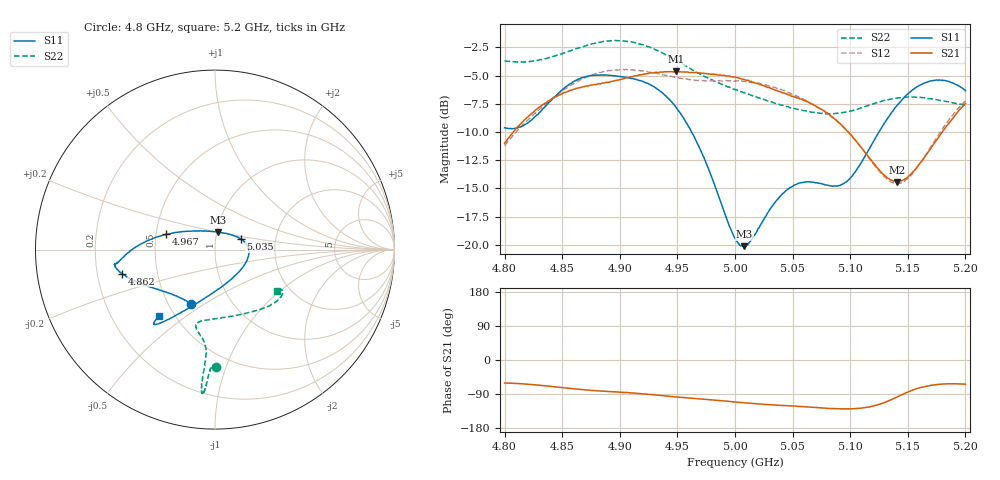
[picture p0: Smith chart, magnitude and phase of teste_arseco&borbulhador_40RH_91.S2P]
! Network Analyzer HP8722D
! Hewlett-Packard
! Data name: Linha & Wilkinson
! Saver's name: Rodrigo Anjos
! Comments: Teste da utilização de aquisição
! continua pelo VNA HP8722D
! Time and date: 15/4/2025 17:06
!  Frequency  S11  S21  S12  S22
# HZ  S  MA R 50
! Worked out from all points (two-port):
!   401 points, 4.8 GHz to 5.2 GHz, reference 50 ohm
!   highest |S21| = -4.63 dB at 4.949 GHz (marker M1); lowest = -14.4 dB at 5.141 GHz (marker M2)
!   |S21| within 3 dB of the highest: 4.832 GHz to 5.069 GHz (236.7 MHz wide, 4.78 % of centre); 5.198524 GHz to end of sweep
!   lowest |S11| = -20.1 dB at 5.008 GHz (marker M3), VSWR 1.22, Z = 50.7 + j9.96 ohm
!   |S11| at or under -10 dB: 4.962 GHz to 5.125 GHz (162.6 MHz wide, 3.22 % of centre)
!   |S22| runs from -8.4 to -1.9 dB; largest |S21 - S12| = 0.88
!   S11 on the Smith chart (normalised r, x): 4.8 GHz: 0.65, -0.44; 4.862 GHz: 0.31, -0.11; 4.967 GHz: 0.57, +0.10; 5.035 GHz: 1.32, +0.16; 5.2 GHz: 0.41, -0.40
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4.8e9  0.3302 -113.7  0.2816 -60.8  0.2751 -175.0  0.6541 -89.5
4.819e9  0.3445 -133.5  0.3649 -63.6  0.3529 -173.4  0.6489 -91.2
4.862e9  0.5358 -165.6  0.494 -76.5  0.5266 -176.3  0.7398 -93.4
4.867e9  0.5504 -167.6  0.4999 -78.1  0.542 -177.4  0.7542 -93.7
4.9e9  0.5575 -172.0  0.5401 -84.9  0.5977 175.9  0.8035 -95.1
4.934e9  0.485 -177.9  0.5816 -93.2  0.573 171.9  0.7198 -95.6
4.949e9  0.4058 175.0  0.5865 -97.3  0.5518 172.3  0.6565 -95.2
4.967e9  0.2846 162.6  0.5792 -102.0  0.5355 174.0  0.5801 -94.9
5e9  0.1072 107.2  0.5547 -111.0  0.5327 176.5  0.4875 -99.2
5.008e9  0.09868 80.1  0.5406 -113.0  0.5307 176.5  0.4723 -101.1
5.013e9  0.103 64.7  0.5308 -114.2  0.5253 176.3  0.4627 -102.1
5.035e9  0.1548 22.9  0.484 -118.9  0.498 175.2  0.424 -103.7
5.05e9  0.1816 7.2  0.4553 -121.5  0.4641 174.5  0.4046 -100.3
5.067e9  0.1897 -11.2  0.4202 -124.7  0.4227 173.9  0.3867 -91.8
5.087e9  0.182 -43.7  0.3594 -128.4  0.3578 173.9  0.3824 -76.9
5.098e9  0.193 -66.9  0.3178 -128.9  0.3161 174.5  0.3891 -67.7
5.134e9  0.3734 -115.9  0.1955 -106.9  0.192 -159.7  0.4413 -43.4
5.141e9  0.4167 -119.9  0.1903 -97.0  0.187 -148.8  0.4477 -40.2
5.153e9  0.4813 -124.8  0.2066 -80.9  0.2042 -130.0  0.4517 -35.9
5.17e9  0.5325 -128.5  0.2675 -66.8  0.2726 -113.0  0.4442 -32.0
5.184e9  0.5321 -129.8  0.3382 -63.0  0.3483 -107.1  0.4312 -31.1
5.2e9  0.4828 -130.3  0.4223 -63.9  0.4342 -106.0  0.4157 -33.4
